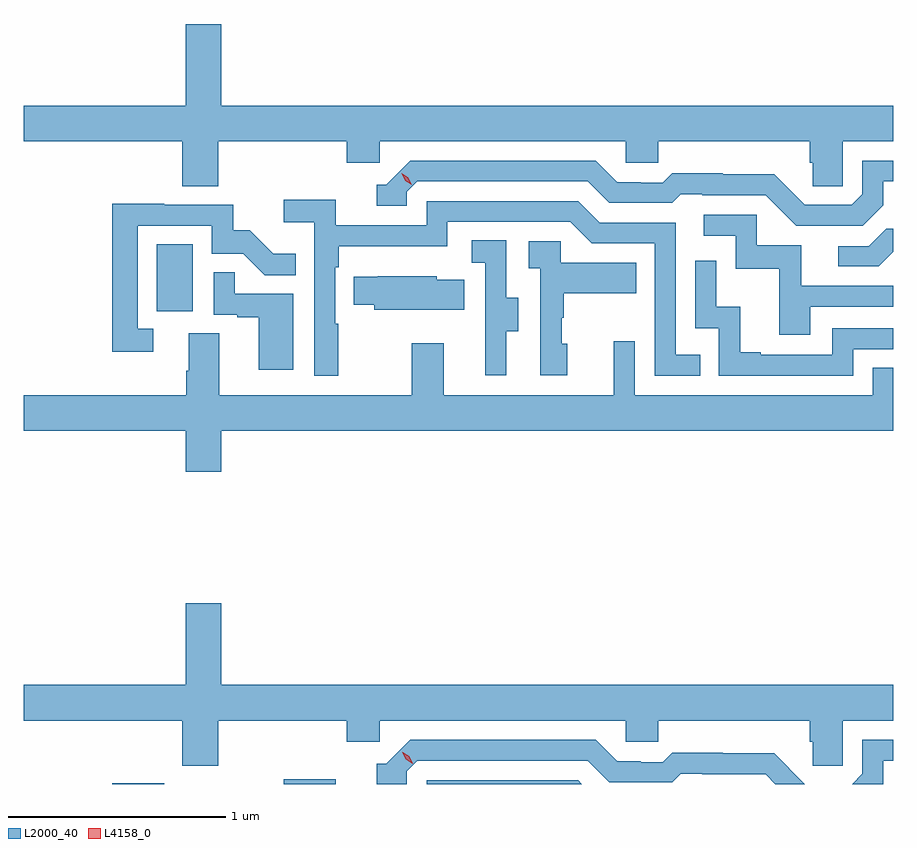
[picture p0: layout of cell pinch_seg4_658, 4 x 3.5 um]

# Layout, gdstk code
import gdstk
lib = gdstk.Library(unit=1e-6, precision=1e-09)
def R(c, l, rs):  # rectangles x0, y0, x1, y1
    for r in rs: c.add(gdstk.rectangle(r[:2], r[2:], *l))
def P(c, l, *ps):  # polygons
    for p in ps: c.add(gdstk.Polygon(p, *l))
L2000_40 = (2000, 40)
L4158_0 = (4158, 0)

pinch_seg4_658 = lib.new_cell('pinch_seg4_658')
R(pinch_seg4_658, L2000_40, [(1141.693,753.904,1141.931,753.908), (1142.481,753.904,1142.72,753.926), (1141.898,756.078,1142.062,756.385)])
P(pinch_seg4_658, L2000_40, [(1142.18,756.86),(1142.771,756.86),(1142.771,756.762),(1142.922,756.762),(1142.922,756.86),(1144.053,756.86),(1144.053,756.762),(1144.203,756.762),(1144.203,756.86),(1144.901,756.86),(1144.901,756.762),(1144.915,756.762),(1144.915,756.652),(1145.052,756.652),(1145.052,756.86),(1145.285,756.86),(1145.285,757.024),(1142.194,757.024),(1142.194,757.399),(1142.03,757.399),(1142.03,757.024),(1141.285,757.024),(1141.285,756.86),(1142.015,756.86),(1142.015,756.652),(1142.18,756.652)],
  [(1145.239,756.565),(1145.239,756.675),(1145.285,756.675),(1145.285,756.771),(1145.142,756.771),(1145.142,756.615),(1145.094,756.567),(1144.878,756.567),(1144.736,756.709),(1144.5,756.709),(1144.5,756.712),(1144.267,756.712),(1144.225,756.669),(1144.122,756.669),(1144.122,756.672),(1144.015,756.672),(1143.916,756.771),(1143.063,756.771),(1142.952,756.66),(1142.909,756.66),(1142.909,756.564),(1143.048,756.564),(1143.048,756.627),(1143.096,756.675),(1143.879,756.675),(1143.978,756.576),(1144.267,756.576),(1144.306,756.615),(1144.405,756.615),(1144.405,756.612),(1144.698,756.612),(1144.839,756.471),(1145.145,756.471)],
  [(1142.731,756.02),(1142.718,756.02),(1142.718,756.281),(1142.735,756.281),(1142.735,756.377),(1143.234,756.377),(1143.234,756.489),(1143.798,756.489),(1143.897,756.39),(1144.188,756.39),(1144.188,755.781),(1144.397,755.781),(1144.397,755.877),(1144.284,755.877),(1144.284,756.486),(1143.934,756.486),(1143.835,756.585),(1143.138,756.585),(1143.138,756.474),(1142.72,756.474),(1142.72,756.59),(1142.481,756.59),(1142.481,756.488),(1142.622,756.488),(1142.622,755.781),(1142.731,755.781)],
  [(1141.882,755.997),(1141.809,755.997),(1141.809,756.471),(1142.151,756.471),(1142.151,756.342),(1142.295,756.342),(1142.393,756.244),(1142.537,756.244),(1142.537,756.343),(1142.433,756.343),(1142.326,756.45),(1142.25,756.45),(1142.25,756.567),(1141.931,756.567),(1141.931,756.572),(1141.693,756.572),(1141.693,755.892),(1141.882,755.892)],
  [(1144.903,756.099),(1145.285,756.099),(1145.285,756.195),(1144.861,756.195),(1144.861,756.381),(1144.656,756.381),(1144.656,756.522),(1144.413,756.522),(1144.413,756.426),(1144.56,756.426),(1144.56,756.273),(1144.759,756.273),(1144.759,755.97),(1144.903,755.97)],
  [(1145.285,756.352),(1145.285,756.458),(1145.252,756.458),(1145.172,756.378),(1145.031,756.378),(1145.031,756.285),(1145.218,756.285)],
  [(1143.505,755.986),(1143.559,755.986),(1143.559,756.141),(1143.504,756.141),(1143.504,756.404),(1143.345,756.404),(1143.345,756.301),(1143.408,756.301),(1143.408,755.997),(1143.407,755.997),(1143.407,755.784),(1143.505,755.784)],
  [(1143.784,755.928),(1143.759,755.928),(1143.759,756.047),(1143.769,756.047),(1143.769,756.161),(1144.103,756.161),(1144.103,756.301),(1143.756,756.301),(1143.756,756.399),(1143.609,756.399),(1143.609,756.275),(1143.66,756.275),(1143.66,755.784),(1143.784,755.784)],
  [(1145.1,755.904),(1145.285,755.904),(1145.285,756),(1145.004,756),(1145.004,755.877),(1144.675,755.877),(1144.675,755.89),(1144.58,755.89),(1144.58,756.098),(1144.47,756.098),(1144.47,756.31),(1144.374,756.31),(1144.374,756),(1144.482,756),(1144.482,755.781),(1145.1,755.781)],
  [(1142.524,756.159),(1142.255,756.159),(1142.255,756.257),(1142.16,756.257),(1142.16,756.063),(1142.267,756.063),(1142.267,756.051),(1142.366,756.051),(1142.366,755.808),(1142.524,755.808)],
  [(1143.311,756.223),(1143.186,756.223),(1143.186,756.238),(1142.914,756.238),(1142.914,756.237),(1142.803,756.237),(1142.803,756.109),(1142.897,756.109),(1142.897,756.086),(1143.311,756.086)],
  [(1142.194,755.528),(1145.285,755.528),(1145.285,755.819),(1145.19,755.819),(1145.19,755.692),(1144.095,755.692),(1144.095,755.941),(1143.998,755.941),(1143.998,755.692),(1143.217,755.692),(1143.217,755.932),(1143.07,755.932),(1143.07,755.692),(1142.185,755.692),(1142.185,755.978),(1142.045,755.978),(1142.045,755.804),(1142.033,755.804),(1142.033,755.692),(1141.285,755.692),(1141.285,755.528),(1142.03,755.528),(1142.03,755.34),(1142.194,755.34)],
  [(1142.18,754.196),(1142.771,754.196),(1142.771,754.098),(1142.922,754.098),(1142.922,754.196),(1144.053,754.196),(1144.053,754.098),(1144.203,754.098),(1144.203,754.196),(1144.901,754.196),(1144.901,754.098),(1144.915,754.098),(1144.915,753.988),(1145.052,753.988),(1145.052,754.196),(1145.285,754.196),(1145.285,754.36),(1142.194,754.36),(1142.194,754.735),(1142.03,754.735),(1142.03,754.36),(1141.285,754.36),(1141.285,754.196),(1142.015,754.196),(1142.015,753.988),(1142.18,753.988)],
  [(1145.239,754.011),(1145.285,754.011),(1145.285,754.107),(1145.142,754.107),(1145.142,753.951),(1145.095,753.904),(1145.239,753.904)],
  [(1143.048,753.963),(1143.096,754.011),(1143.879,754.011),(1143.978,753.912),(1144.267,753.912),(1144.306,753.951),(1144.405,753.951),(1144.405,753.948),(1144.698,753.948),(1144.742,753.904),(1144.877,753.904),(1144.736,754.045),(1144.5,754.045),(1144.5,754.048),(1144.267,754.048),(1144.225,754.005),(1144.122,754.005),(1144.122,754.008),(1144.015,754.008),(1143.916,754.107),(1143.063,754.107),(1142.952,753.996),(1142.909,753.996),(1142.909,753.904),(1143.048,753.904)],
  [(1143.835,753.921),(1143.138,753.921),(1143.138,753.904),(1143.852,753.904)])
P(pinch_seg4_658, L4158_0, [(1143.07,756.659),(1143.04,756.679),(1143.024,756.712),(1143.024,756.712),(1143.024,756.712),(1143.055,756.692),(1143.07,756.66),(1143.07,756.659)],
  [(1143.074,753.998),(1143.043,754.018),(1143.027,754.051),(1143.027,754.051),(1143.028,754.051),(1143.058,754.032),(1143.074,753.999),(1143.074,753.998)])

lib.write_gds('pinch_seg4_658.gds')
